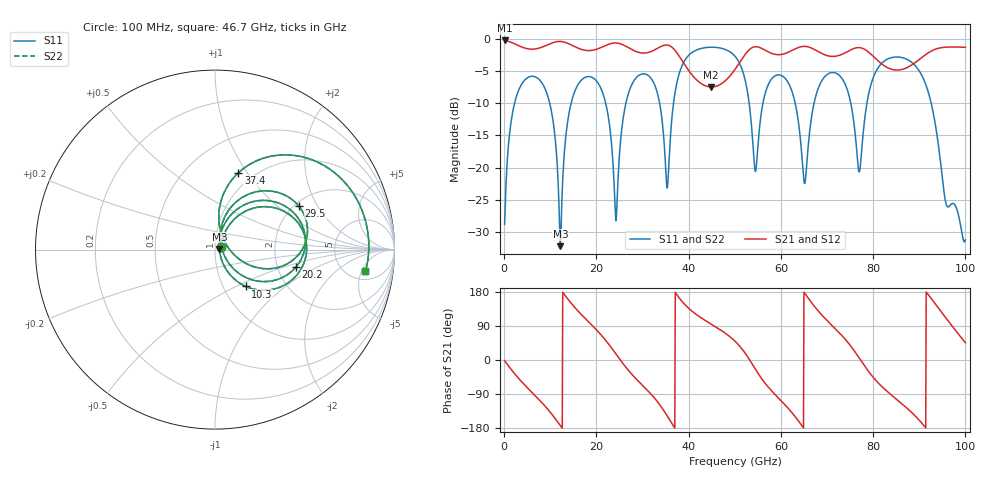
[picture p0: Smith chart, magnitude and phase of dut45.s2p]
! Touchstone file exported from HFSS 2026.1.0
!  File:  C:/ffzhzh/LocalFiles/Ansys_Project_Files/temp_train_TSV_RDL_45_1783443677_7600.aedt
!  Generated:  01:41:59 AM Jul  8, 2026
!  Design:  TSV_RDL
!  Project:  temp_train_TSV_RDL_45_1783443677_7600
! Variables:
!  h_bsmrdl = 3.66um
!  h_ox = 20um
!  h_rdl = 5um
!  h_sub = 97um
!  h_tmrdl = 2.02um
!  h_tsv = 97um
!  h_via = 3um
!  l_bsmrdl = 467.16um
!  l_sub = 4559.52um
!  l_tmrdl = 656.42um
!  m_sub = 200um
!  pitch = 44.35um
!  r_tsv = 5.81um
!  s_tmrdl = 10um
!  w_bsmrdl = 25.39um
!  w_sub = 500um
!  w_tmrdl = 18.73um
!  x_tsv_center1 = 665.785um
!  x_tsv_center2 = 1158.335um
!  x_tsv_center3 = 1833.485um
!  x_tsv_center4 = 2326.035um
!  x_tsv_center5 = 3001.185um
!  x_tsv_center6 = 3493.735um
# GHz S MA R 50.000000
! Terminal data exported
! Port[1] = TM_RDL1_1_T1
! Port[2] = TM_RDL5_1_T1
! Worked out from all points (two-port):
!   1000 points, 100 MHz to 100 GHz, reference 50 ohm
!   highest |S21| = -0.28 dB at 100 MHz (marker M1); lowest = -7.5 dB at 44.9 GHz (marker M2)
!   |S21| within 3 dB of the highest: start of sweep to 38.47 GHz; 51.44 GHz to 80.81 GHz (29.36 GHz wide, 44.4 % of centre) (the widest 2 of 3)
!   lowest |S11| = -32.2 dB at 12.2 GHz (marker M3), VSWR 1.05, Z = 52.5 + j0.394 ohm
!   |S11| at or under -10 dB: 9.872 GHz to 14.53 GHz (4.657 GHz wide, 38.2 % of centre); 22.01 GHz to 26.4 GHz (4.388 GHz wide, 18.1 % of centre); 92.58 GHz to end of sweep (the widest 3 of 8)
!   |S22| runs from -32.2 to -1.3 dB; largest |S21 - S12| = 6.2e-12
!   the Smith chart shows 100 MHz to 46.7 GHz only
!   S11 on the Smith chart (normalised r, x): 100 MHz: 1.07, +0.03; 10.3 GHz: 1.27, -0.56; 20.2 GHz: 2.53, -0.63; 29.5 GHz: 2.12, +1.41; 37.4 GHz: 0.85, +0.91; 46.7 GHz: 6.89, -5.95
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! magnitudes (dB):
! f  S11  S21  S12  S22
! 100 MHz  -28.8  -0.3  -0.3  -28.8
! 3.5 GHz  -7.4  -1.2  -1.2  -7.4
! 10.3 GHz  -11.5  -0.7  -0.7  -11.5
! 12.2 GHz  -32.2  -0.4  -0.4  -32.2
! 16.8 GHz  -6.4  -1.7  -1.7  -6.4
! 20.2 GHz  -6.7  -1.6  -1.6  -6.7
! 24.2 GHz  -28.3  -0.7  -0.7  -28.1
! 29.5 GHz  -5.6  -2.2  -2.2  -5.6
! 33.4 GHz  -9.0  -1.4  -1.4  -9.0
! 35.4 GHz  -23.1  -1.0  -1.0  -23.2
! 37.4 GHz  -7.0  -2.1  -2.1  -7.0
! 44.9 GHz  -1.3  -7.5  -7.5  -1.3
! 46.7 GHz  -1.4  -7.2  -7.2  -1.4
! 50.1 GHz  -2.8  -4.7  -4.7  -2.8
! 54.5 GHz  -20.6  -1.3  -1.3  -20.5
! 58.5 GHz  -5.9  -2.4  -2.4  -5.9
! 65.1 GHz  -22.4  -1.2  -1.2  -22.4
! 66.7 GHz  -11.9  -1.5  -1.5  -11.9
! 72.7 GHz  -5.7  -2.6  -2.6  -5.7
! 77 GHz  -20.7  -1.4  -1.4  -20.7
! 83.4 GHz  -3.1  -4.6  -4.6  -3.1
! 100 GHz  -31.2  -1.3  -1.3  -31.8
